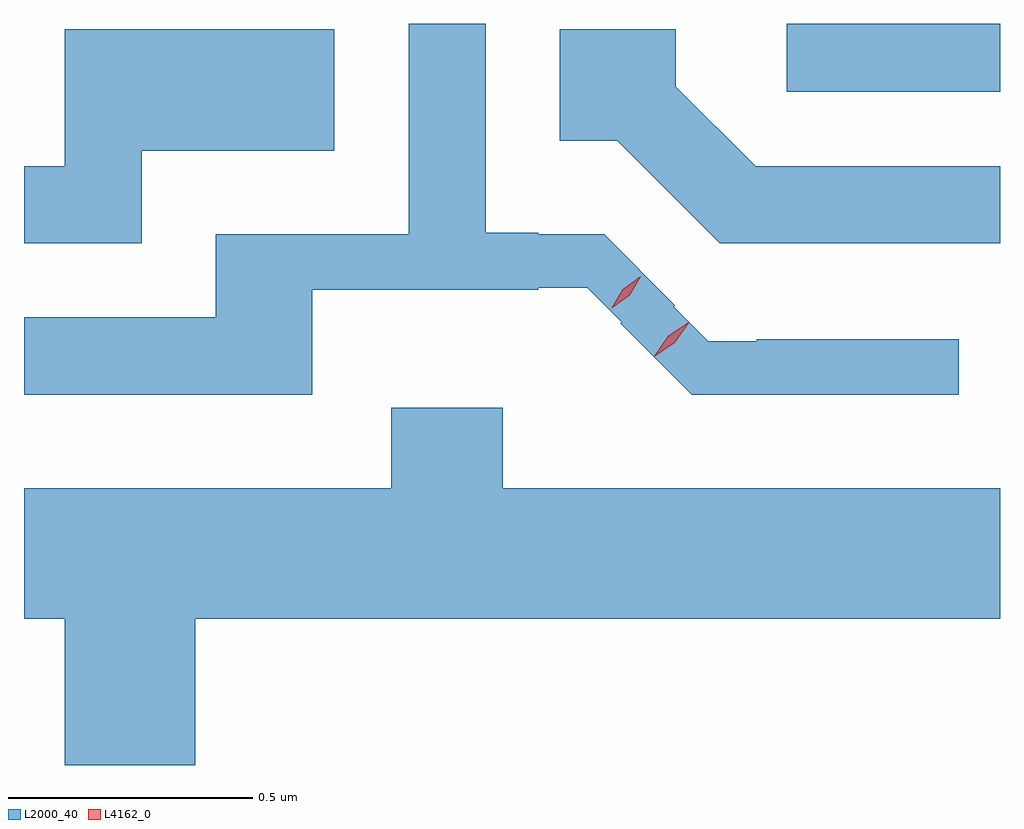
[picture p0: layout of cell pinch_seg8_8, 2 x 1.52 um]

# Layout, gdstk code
import gdstk
lib = gdstk.Library(unit=1e-6, precision=1e-09)
def R(c, l, rs):  # rectangles x0, y0, x1, y1
    for r in rs: c.add(gdstk.rectangle(r[:2], r[2:], *l))
def P(c, l, *ps):  # polygons
    for p in ps: c.add(gdstk.Polygon(p, *l))
L2000_40 = (2000, 40)
L4162_0 = (4162, 0)

pinch_seg8_8 = lib.new_cell('pinch_seg8_8')
R(pinch_seg8_8, L2000_40, [(1715.056,1930.736,1715.493,1930.876)])
P(pinch_seg8_8, L2000_40, [(1714.084,1930.331),(1714.547,1930.331),(1714.547,1930.335),(1714.647,1930.335),(1714.718,1930.264),(1714.715,1930.262),(1714.861,1930.116),(1715.408,1930.116),(1715.408,1930.229),(1714.995,1930.229),(1714.995,1930.225),(1714.895,1930.225),(1714.824,1930.296),(1714.827,1930.299),(1714.682,1930.444),(1714.547,1930.444),(1714.547,1930.447),(1714.439,1930.447),(1714.439,1930.876),(1714.281,1930.876),(1714.281,1930.444),(1713.886,1930.444),(1713.886,1930.274),(1713.493,1930.274),(1713.493,1930.116),(1714.084,1930.116)],
  [(1713.734,1930.616),(1714.129,1930.616),(1714.129,1930.864),(1713.576,1930.864),(1713.576,1930.584),(1713.493,1930.584),(1713.493,1930.426),(1713.734,1930.426)],
  [(1715.493,1930.584),(1714.992,1930.584),(1714.829,1930.747),(1714.829,1930.864),(1714.591,1930.864),(1714.591,1930.636),(1714.709,1930.636),(1714.919,1930.426),(1715.493,1930.426)],
  [(1713.844,1929.656),(1715.493,1929.656),(1715.493,1929.924),(1714.474,1929.924),(1714.474,1930.089),(1714.246,1930.089),(1714.246,1929.924),(1713.493,1929.924),(1713.493,1929.656),(1713.576,1929.656),(1713.576,1929.356),(1713.844,1929.356)])
P(pinch_seg8_8, L4162_0, [(1714.784,1930.193),(1714.784,1930.194),(1714.813,1930.236),(1714.855,1930.264),(1714.856,1930.264),(1714.856,1930.264),(1714.827,1930.222),(1714.785,1930.193)],
  [(1714.697,1930.293),(1714.697,1930.294),(1714.72,1930.332),(1714.757,1930.358),(1714.757,1930.358),(1714.757,1930.357),(1714.734,1930.319),(1714.697,1930.293)])

lib.write_gds('pinch_seg8_8.gds')
